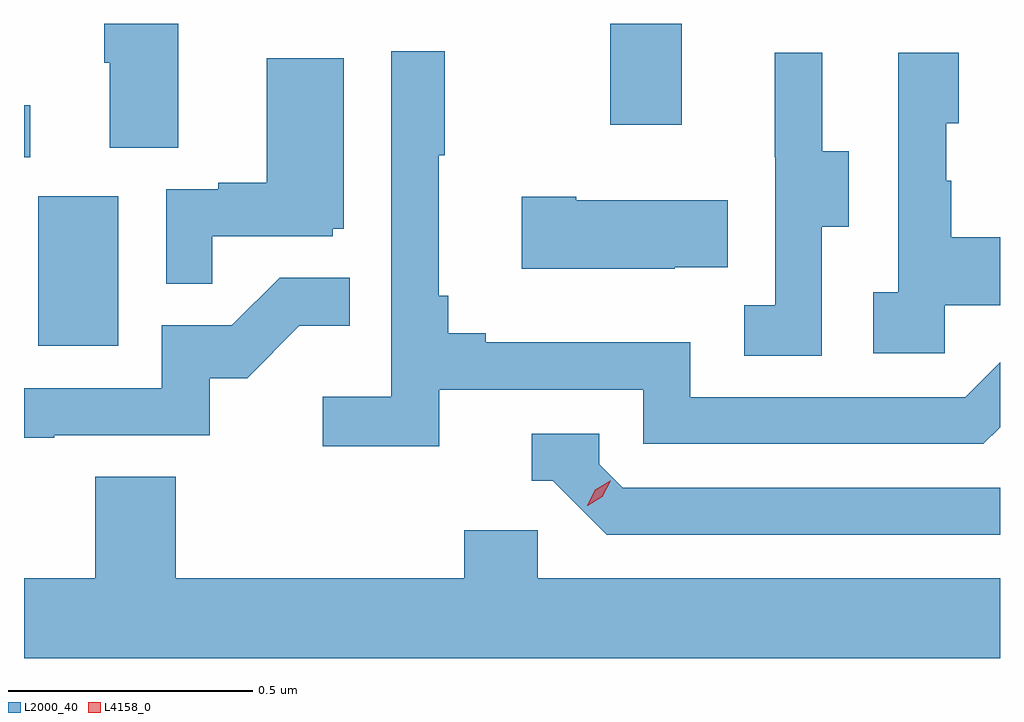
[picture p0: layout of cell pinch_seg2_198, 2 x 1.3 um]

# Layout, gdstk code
import gdstk
lib = gdstk.Library(unit=1e-6, precision=1e-09)
def R(c, l, rs):  # rectangles x0, y0, x1, y1
    for r in rs: c.add(gdstk.rectangle(r[:2], r[2:], *l))
def P(c, l, *ps):  # polygons
    for p in ps: c.add(gdstk.Polygon(p, *l))
L2000_40 = (2000, 40)
L4158_0 = (4158, 0)

pinch_seg2_198 = lib.new_cell('pinch_seg2_198')
R(pinch_seg2_198, L2000_40, [(995.6,664.26,995.764,664.567), (995.571,664.647,995.584,664.753), (996.772,664.713,996.919,664.92)])
P(pinch_seg2_198, L2000_40, [(995.887,664.92),(995.735,664.92),(995.735,664.84),(995.747,664.84),(995.747,664.666),(995.887,664.666)],
  [(996.422,664.17),(996.84,664.17),(996.84,664.059),(997.537,664.059),(997.571,664.093),(997.571,664.226),(997.5,664.155),(996.936,664.155),(996.936,664.267),(996.517,664.267),(996.517,664.286),(996.44,664.286),(996.44,664.363),(996.421,664.363),(996.421,664.651),(996.433,664.651),(996.433,664.864),(996.324,664.864),(996.324,664.156),(996.183,664.156),(996.183,664.054),(996.422,664.054)],
  [(997.206,664.504),(997.261,664.504),(997.261,664.659),(997.207,664.659),(997.207,664.861),(997.109,664.861),(997.109,664.647),(997.11,664.647),(997.11,664.343),(997.047,664.343),(997.047,664.24),(997.206,664.24)],
  [(997.458,664.343),(997.571,664.343),(997.571,664.483),(997.471,664.483),(997.471,664.598),(997.461,664.598),(997.461,664.716),(997.486,664.716),(997.486,664.861),(997.362,664.861),(997.362,664.37),(997.311,664.37),(997.311,664.245),(997.458,664.245)],
  [(995.957,664.485),(996.204,664.485),(996.204,664.5),(996.226,664.5),(996.226,664.849),(996.068,664.849),(996.068,664.594),(995.969,664.594),(995.969,664.581),(995.862,664.581),(995.862,664.387),(995.957,664.387)],
  [(996.905,664.421),(997.013,664.421),(997.013,664.558),(996.703,664.558),(996.703,664.566),(996.591,664.566),(996.591,664.418),(996.905,664.418)],
  [(995.633,664.077),(995.952,664.077),(995.952,664.194),(996.028,664.194),(996.135,664.301),(996.239,664.301),(996.239,664.4),(996.095,664.4),(995.997,664.302),(995.853,664.302),(995.853,664.173),(995.571,664.173),(995.571,664.072),(995.633,664.072)],
  [(997.571,663.969),(996.798,663.969),(996.75,664.017),(996.75,664.08),(996.611,664.08),(996.611,663.984),(996.654,663.984),(996.765,663.873),(997.571,663.873)],
  [(997.571,663.784),(996.624,663.784),(996.624,663.882),(996.473,663.882),(996.473,663.784),(995.882,663.784),(995.882,663.992),(995.717,663.992),(995.717,663.784),(995.571,663.784),(995.571,663.62),(997.571,663.62)])
P(pinch_seg2_198, L4158_0, [(996.725,663.932),(996.725,663.933),(996.742,663.965),(996.772,663.984),(996.773,663.984),(996.773,663.984),(996.756,663.951),(996.726,663.932)])

lib.write_gds('pinch_seg2_198.gds')
